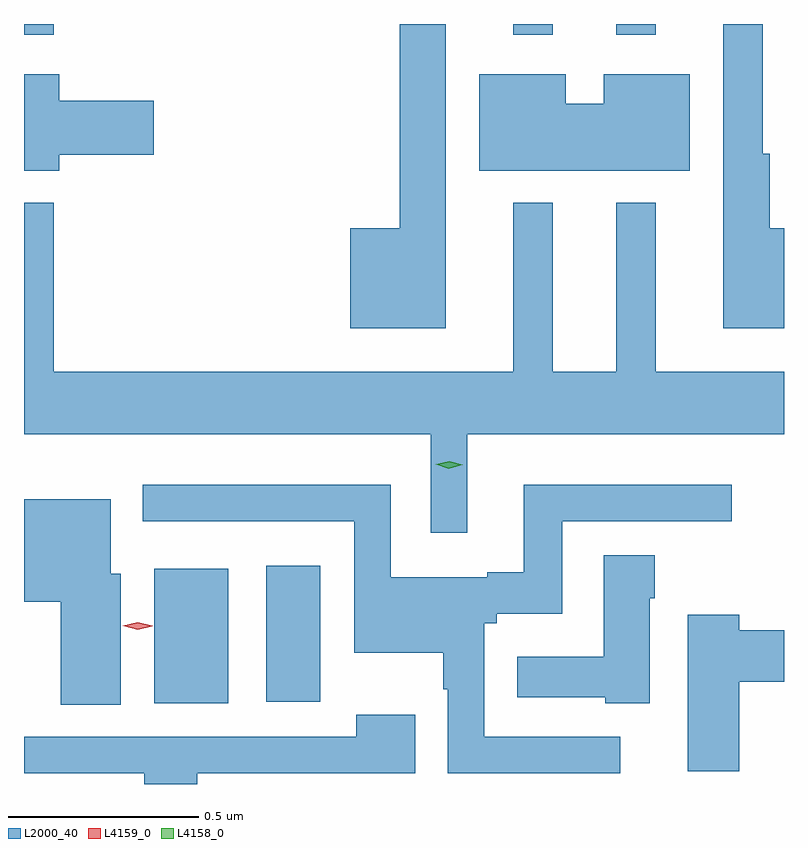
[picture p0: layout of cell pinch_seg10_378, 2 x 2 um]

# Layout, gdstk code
import gdstk
lib = gdstk.Library(unit=1e-6, precision=1e-09)
def R(c, l, rs):  # rectangles x0, y0, x1, y1
    for r in rs: c.add(gdstk.rectangle(r[:2], r[2:], *l))
def P(c, l, *ps):  # polygons
    for p in ps: c.add(gdstk.Polygon(p, *l))
L2000_40 = (2000, 40)
L4158_0 = (4158, 0)
L4159_0 = (4159, 0)

pinch_seg10_378 = lib.new_cell('pinch_seg10_378')
R(pinch_seg10_378, L2000_40, [(449.006,1251.656,449.2,1252.009), (449.3,1251.66,449.443,1252.018), (448.663,1253.415,448.741,1253.443), (449.951,1253.415,450.055,1253.443), (450.221,1253.415,450.325,1253.443)])
P(pinch_seg10_378, L2000_40, [(449.773,1253.443),(449.652,1253.443),(449.652,1252.906),(449.522,1252.906),(449.522,1252.643),(449.773,1252.643)],
  [(450.663,1252.906),(450.625,1252.906),(450.625,1253.102),(450.607,1253.102),(450.607,1253.443),(450.503,1253.443),(450.503,1252.643),(450.663,1252.643)],
  [(450.415,1253.311),(450.188,1253.311),(450.188,1253.233),(450.088,1253.233),(450.088,1253.311),(449.861,1253.311),(449.861,1253.057),(450.415,1253.057)],
  [(448.756,1253.099),(449.005,1253.099),(449.005,1253.241),(448.756,1253.241),(448.756,1253.311),(448.663,1253.311),(448.663,1253.057),(448.756,1253.057)],
  [(449.83,1252.364),(450.663,1252.364),(450.663,1252.528),(450.325,1252.528),(450.325,1252.972),(450.221,1252.972),(450.221,1252.528),(450.055,1252.528),(450.055,1252.972),(449.951,1252.972),(449.951,1252.528),(448.741,1252.528),(448.741,1252.972),(448.663,1252.972),(448.663,1252.364),(449.733,1252.364),(449.733,1252.104),(449.83,1252.104)],
  [(450.232,1251.567),(449.874,1251.567),(449.874,1251.866),(449.907,1251.866),(449.907,1251.891),(450.079,1251.891),(450.079,1252.134),(450.526,1252.134),(450.526,1252.231),(449.978,1252.231),(449.978,1252),(449.882,1252),(449.882,1251.987),(449.628,1251.987),(449.628,1252.231),(448.976,1252.231),(448.976,1252.134),(449.532,1252.134),(449.532,1251.788),(449.766,1251.788),(449.766,1251.692),(449.778,1251.692),(449.778,1251.471),(450.232,1251.471)],
  [(448.918,1251.996),(448.891,1251.996),(448.891,1252.192),(448.663,1252.192),(448.663,1251.923),(448.76,1251.923),(448.76,1251.652),(448.918,1251.652)],
  [(450.31,1251.932),(450.323,1251.932),(450.323,1252.045),(450.188,1252.045),(450.188,1251.778),(449.961,1251.778),(449.961,1251.671),(450.192,1251.671),(450.192,1251.656),(450.31,1251.656)],
  [(450.545,1251.712),(450.663,1251.712),(450.663,1251.848),(450.545,1251.848),(450.545,1251.889),(450.41,1251.889),(450.41,1251.477),(450.545,1251.477)],
  [(449.119,1251.471),(449.693,1251.471),(449.693,1251.625),(449.537,1251.625),(449.537,1251.567),(448.663,1251.567),(448.663,1251.471),(448.979,1251.471),(448.979,1251.443),(449.119,1251.443)])
P(pinch_seg10_378, L4158_0, [(449.781,1252.273),(449.746,1252.284),(449.746,1252.284),(449.746,1252.284),(449.782,1252.293),(449.817,1252.283),(449.817,1252.283),(449.817,1252.283)])
P(pinch_seg10_378, L4159_0, [(448.962,1251.849),(448.923,1251.859),(448.923,1251.86),(448.923,1251.86),(448.962,1251.869),(449.001,1251.859),(449.002,1251.859),(449.001,1251.858)])

lib.write_gds('pinch_seg10_378.gds')
